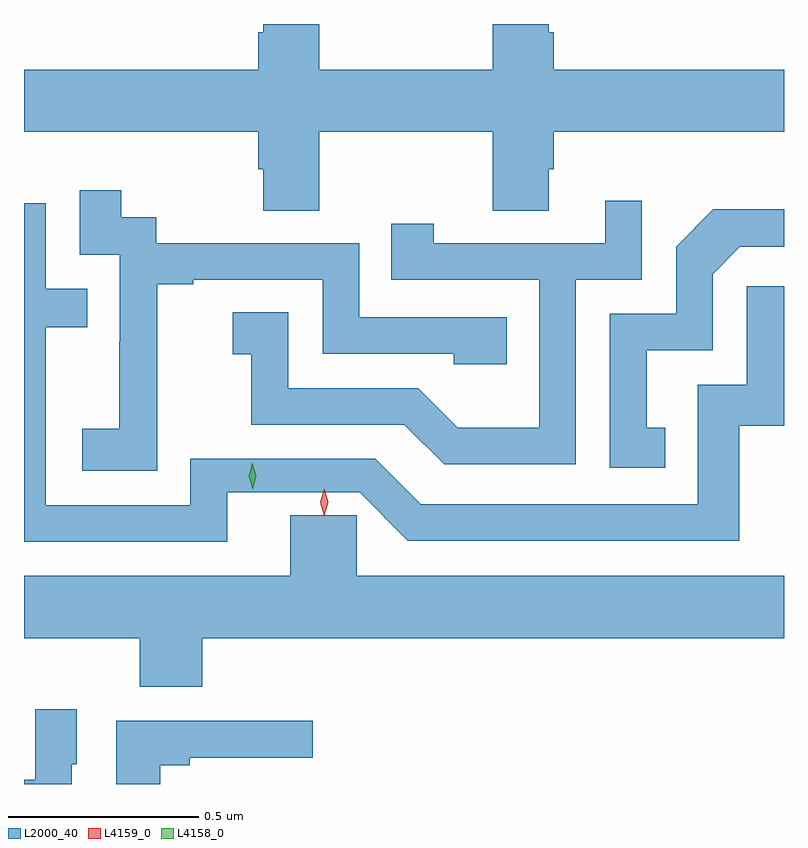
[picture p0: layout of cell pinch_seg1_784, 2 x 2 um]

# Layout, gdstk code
import gdstk
lib = gdstk.Library(unit=1e-6, precision=1e-09)
def P(c, l, *ps):  # polygons
    for p in ps: c.add(gdstk.Polygon(p, *l))
L2000_40 = (2000, 40)
L4158_0 = (4158, 0)
L4159_0 = (4159, 0)

pinch_seg1_784 = lib.new_cell('pinch_seg1_784')
P(pinch_seg1_784, L2000_40, [(833.271,543.74),(833.728,543.74),(833.728,543.532),(833.875,543.532),(833.875,543.642),(833.888,543.642),(833.888,543.74),(834.494,543.74),(834.494,543.904),(833.888,543.904),(833.888,544.002),(833.875,544.002),(833.875,544.024),(833.728,544.024),(833.728,543.904),(833.271,543.904),(833.271,544.024),(833.123,544.024),(833.123,544.002),(833.111,544.002),(833.111,543.904),(832.494,543.904),(832.494,543.74),(833.111,543.74),(833.111,543.642),(833.123,543.642),(833.123,543.532),(833.271,543.532)],
  [(832.845,543.055),(832.844,543.055),(832.844,543.339),(832.939,543.339),(832.939,543.351),(833.28,543.351),(833.28,543.156),(833.625,543.156),(833.625,543.129),(833.765,543.129),(833.765,543.252),(833.376,543.252),(833.376,543.447),(832.842,543.447),(832.842,543.516),(832.75,543.516),(832.75,543.586),(832.641,543.586),(832.641,543.417),(832.746,543.417),(832.746,543.188),(832.745,543.188),(832.745,542.959),(832.647,542.959),(832.647,542.849),(832.845,542.849)],
  [(833.946,543.351),(834.12,543.351),(834.12,543.559),(834.023,543.559),(834.023,543.447),(833.572,543.447),(833.572,543.499),(833.461,543.499),(833.461,543.351),(833.85,543.351),(833.85,542.962),(833.636,542.962),(833.532,543.066),(833.19,543.066),(833.19,543.265),(833.043,543.265),(833.043,543.155),(833.092,543.155),(833.092,542.97),(833.495,542.97),(833.6,542.865),(833.946,542.865)],
  [(833.029,542.792),(833.377,542.792),(833.504,542.664),(834.376,542.664),(834.376,542.967),(834.494,542.967),(834.494,543.334),(834.396,543.334),(834.396,543.075),(834.267,543.075),(834.267,542.76),(833.538,542.76),(833.418,542.88),(832.932,542.88),(832.932,542.757),(832.551,542.757),(832.551,543.226),(832.661,543.226),(832.661,543.327),(832.551,543.327),(832.551,543.552),(832.494,543.552),(832.494,542.661),(833.029,542.661)],
  [(834.182,542.961),(834.133,542.961),(834.133,543.165),(834.306,543.165),(834.306,543.366),(834.378,543.438),(834.494,543.438),(834.494,543.536),(834.308,543.536),(834.21,543.438),(834.21,543.261),(834.036,543.261),(834.036,542.856),(834.182,542.856)],
  [(832.963,542.408),(834.494,542.408),(834.494,542.572),(833.37,542.572),(833.37,542.731),(833.195,542.731),(833.195,542.572),(832.494,542.572),(832.494,542.408),(832.799,542.408),(832.799,542.28),(832.963,542.28)],
  [(832.62,542.076),(832.633,542.076),(832.633,542.221),(832.524,542.221),(832.524,542.035),(832.494,542.035),(832.494,542.024),(832.62,542.024)],
  [(832.853,542.074),(832.93,542.074),(832.93,542.093),(833.254,542.093),(833.254,542.19),(832.737,542.19),(832.737,542.024),(832.853,542.024)])
P(pinch_seg1_784, L4158_0, [(833.096,542.8),(833.096,542.8),(833.085,542.834),(833.094,542.868),(833.094,542.869),(833.094,542.868),(833.105,542.834),(833.096,542.8)])
P(pinch_seg1_784, L4159_0, [(833.284,542.729),(833.284,542.73),(833.274,542.765),(833.284,542.801),(833.284,542.801),(833.284,542.801),(833.294,542.765),(833.284,542.73)])

lib.write_gds('pinch_seg1_784.gds')
